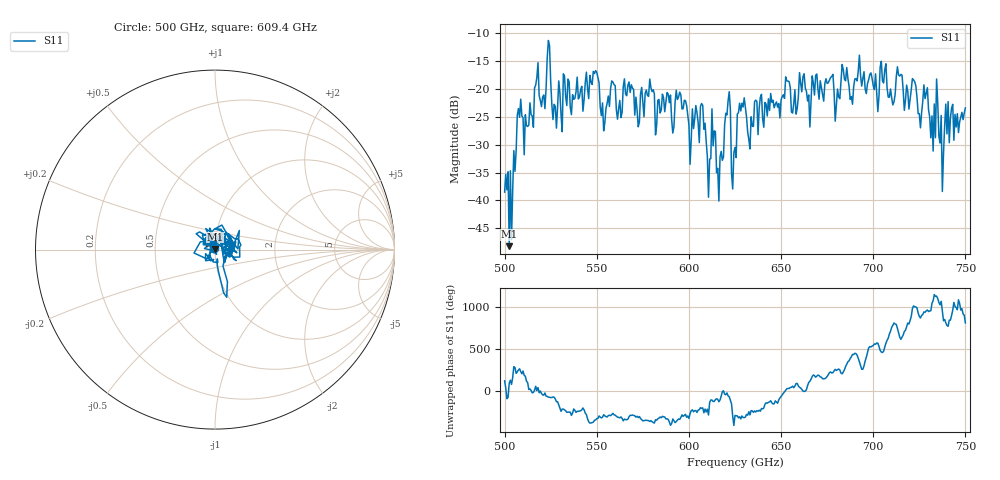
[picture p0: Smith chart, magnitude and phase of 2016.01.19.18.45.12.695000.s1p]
!Created with skrf (http://scikit-rf.org).
# GHz S RI R 50.0
!freq ReS11 ImS11
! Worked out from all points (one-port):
!   401 points, 500 GHz to 750 GHz, reference 50 ohm
!   lowest |S11| = -48.2 dB at 502.5 GHz (marker M1), VSWR 1.01, Z = 50 + j0.388 ohm
!   |S11| at or under -10 dB: start of sweep to end of sweep
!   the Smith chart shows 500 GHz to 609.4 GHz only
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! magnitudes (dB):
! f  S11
! 500 GHz  -38.5
! 502.5 GHz  -48.2
! 508.1 GHz  -25.1
! 511.9 GHz  -26.6
! 523.8 GHz  -11.3
! 526.9 GHz  -22.7
! 531.2 GHz  -27.7
! 549.4 GHz  -16.7
! 553.1 GHz  -22.5
! 558.8 GHz  -18.7
! 562.5 GHz  -22.0
! 593.8 GHz  -21.9
! 601.2 GHz  -29.0
! 607.5 GHz  -22.9
! 610.6 GHz  -39.4
! 613.1 GHz  -30.2
! 616.2 GHz  -40.1
! 621.2 GHz  -22.1
! 625 GHz  -30.5
! 628.8 GHz  -22.5
! 633.1 GHz  -30.8
! 656.2 GHz  -24.3
! 687.5 GHz  -21.8
! 718.8 GHz  -20.4
! 728.8 GHz  -20.7
! 735.6 GHz  -28.5
! 736.9 GHz  -24.7
! 750 GHz  -23.4
